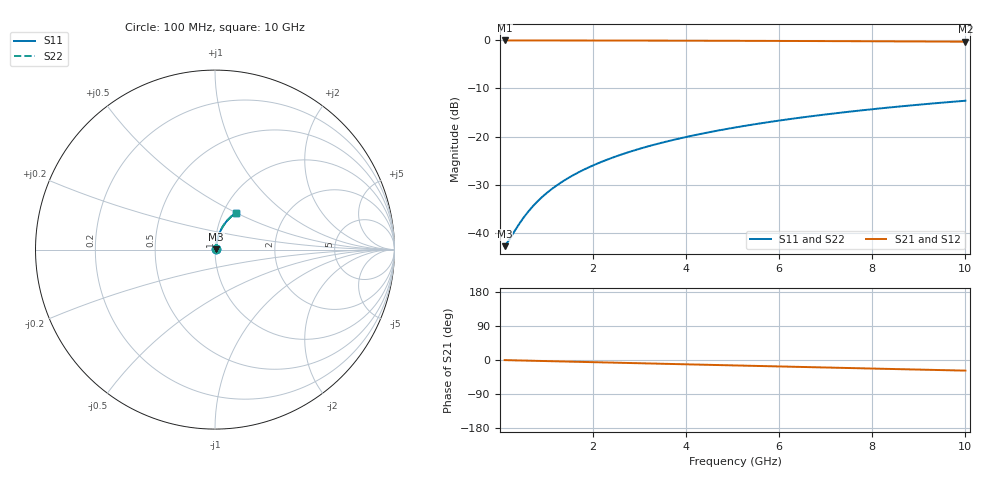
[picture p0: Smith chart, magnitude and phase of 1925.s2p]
# Hz S RI R 50.00
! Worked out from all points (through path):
!   100 points, 100 MHz to 10 GHz, reference 50 ohm
!   highest |S21| = -0.06 dB at 100 MHz (marker M1); lowest = -0.3 dB at 10 GHz (marker M2)
!   group delay of S21, straight-line fit = 7.79 ps
!   lowest |S11| = -42.7 dB at 100 MHz (marker M3), VSWR 1.01, Z = 50.7 + j0.25 ohm
!   |S11| at or under -10 dB: start of sweep to end of sweep
!   |S22| runs from -42.7 to -12.6 dB; largest |S21 - S12| = 0
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1e8  0.00692 0.00247  0.9931 -0.00494  0.9931 -0.00494  0.00692 0.00247
2e8  0.007 0.00493  0.993 -0.00989  0.993 -0.00989  0.007 0.00493
4e8  0.0072 0.00986  0.9927 -0.0198  0.9927 -0.0198  0.0072 0.00986
5e8  0.00734 0.0123  0.9926 -0.0247  0.9926 -0.0247  0.00734 0.0123
6e8  0.00749 0.0148  0.9924 -0.0297  0.9924 -0.0297  0.00749 0.0148
7e8  0.00767 0.0172  0.9922 -0.0346  0.9922 -0.0346  0.00767 0.0172
8e8  0.00787 0.0197  0.9919 -0.0395  0.9919 -0.0395  0.00787 0.0197
1e9  0.00834 0.0246  0.9913 -0.0494  0.9913 -0.0494  0.00834 0.0246
1.2e9  0.00891 0.0295  0.9906 -0.0592  0.9906 -0.0592  0.00891 0.0295
1.5e9  0.00993 0.0368  0.9893 -0.074  0.9893 -0.074  0.00993 0.0368
1.8e9  0.0112 0.0441  0.9878 -0.0887  0.9878 -0.0887  0.0112 0.0441
2.1e9  0.0126 0.0513  0.986 -0.1034  0.986 -0.1034  0.0126 0.0513
2.5e9  0.0149 0.0609  0.9831 -0.1229  0.9831 -0.1229  0.0149 0.0609
2.9e9  0.0175 0.0703  0.9798 -0.1422  0.9798 -0.1422  0.0175 0.0703
3.4e9  0.0213 0.082  0.975 -0.1663  0.975 -0.1663  0.0213 0.082
4.2e9  0.0286 0.1001  0.9658 -0.2043  0.9658 -0.2043  0.0286 0.1001
5.1e9  0.0384 0.1197  0.9534 -0.2462  0.9534 -0.2462  0.0384 0.1197
5.9e9  0.0485 0.1362  0.9406 -0.2826  0.9406 -0.2826  0.0485 0.1362
6.7e9  0.0598 0.1518  0.9261 -0.3181  0.9261 -0.3181  0.0598 0.1518
7.5e9  0.0722 0.1664  0.9101 -0.3526  0.9101 -0.3526  0.0722 0.1664
8.4e9  0.0874 0.1815  0.8904 -0.3901  0.8904 -0.3901  0.0874 0.1815
1e10  0.117 0.2047  0.8513 -0.4531  0.8513 -0.4531  0.117 0.2047
